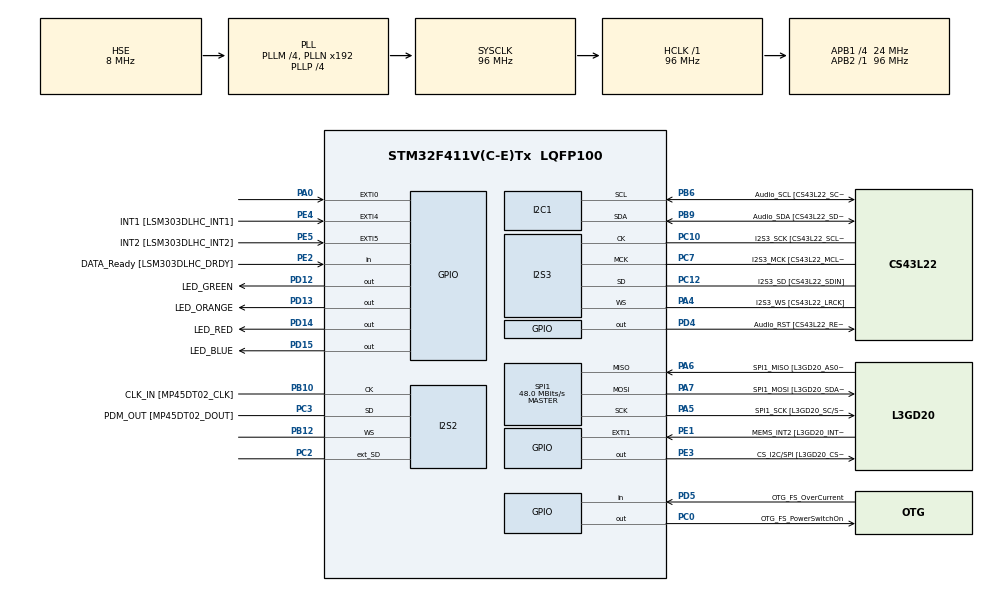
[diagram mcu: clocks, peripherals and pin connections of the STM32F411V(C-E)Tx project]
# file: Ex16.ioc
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FREERTOS.BinarySemaphores01=SemaSync1,Dynamic,NULL;SemaSync2,Dynamic,NULL
FREERTOS.INCLUDE_vTaskDelayUntil=1
FREERTOS.Mutexes01=CriticalResourceMutex,Dynamic,NULL
FREERTOS.Tasks01=FlashGreenLed,0,128,StartFlashGreenLedTask,Default,NULL,Dynamic,NULL,NULL;FlashRedLed,0,128,StartFlashRedLedTask,Default,NULL,Dynamic,NULL,NULL;FlashBlueLed,0,128,StartFlashBlueLedTask,Default,NULL,Dynamic,NULL,NULL
FREERTOS.configUSE_NEWLIB_REENTRANT=1
I2S2.AudioFreq=I2S_AUDIOFREQ_96K
I2S2.ErrorAudioFreq=0.15 %
I2S2.FullDuplexMode=I2S_FULLDUPLEXMODE_ENABLE
I2S2.Instance=SPI$Index
I2S2.RealAudioFreq=96.153 KHz
I2S2.VirtualMode=I2S_MODE_MASTER
I2S3.AudioFreq=I2S_AUDIOFREQ_96K
I2S3.ErrorAudioFreq=-6.99 %
I2S3.FullDuplexMode=I2S_FULLDUPLEXMODE_DISABLE
I2S3.Instance=SPI$Index
I2S3.RealAudioFreq=89.285 KHz
I2S3.VirtualMode=I2S_MODE_MASTER
Mcu.Family=STM32F4
Mcu.Name=STM32F411V(C-E)Tx
Mcu.Package=LQFP100
NVIC.PriorityGroup=NVIC_PRIORITYGROUP_4
NVIC.TIM1_UP_TIM10_IRQn=true\:15\:0\:false\:false\:true\:false\:false\:true\:true
NVIC.TimeBase=TIM1_UP_TIM10_IRQn
NVIC.TimeBaseIP=TIM1
PA0-WKUP.GPIO_ModeDefaultEXTI=GPIO_MODE_EVT_RISING
PA0-WKUP.Signal=GPXTI0
PA10.GPIO_Label=OTG_FS_ID
PA10.Signal=USB_OTG_FS_ID
PA11.GPIO_Label=OTG_FS_DM
PA11.Signal=USB_OTG_FS_DM
PA12.GPIO_Label=OTG_FS_DP
PA12.Signal=USB_OTG_FS_DP
PA13.GPIO_Label=SWDIO
PA13.Mode=Serial_Wire
PA13.Signal=SYS_JTMS-SWDIO
PA14.GPIO_Label=SWCLK
PA14.Mode=Serial_Wire
PA14.Signal=SYS_JTCK-SWCLK
PA4.GPIO_Label=I2S3_WS [CS43L22_LRCK]
PA4.GPIO_Mode=GPIO_MODE_AF_PP
PA4.GPIO_PuPd=GPIO_NOPULL
PA4.GPIO_Speed=GPIO_SPEED_FREQ_LOW
PA4.Mode=Half_Duplex_Master
PA4.Signal=I2S3_WS
PA5.GPIO_Label=SPI1_SCK [L3GD20_SC/SPC]
PA5.Mode=Full_Duplex_Master
PA5.Signal=SPI1_SCK
PA6.GPIO_Label=SPI1_MISO [L3GD20_AS0/SDO]
PA6.Mode=Full_Duplex_Master
PA6.Signal=SPI1_MISO
PA7.GPIO_Label=SPI1_MOSI [L3GD20_SDA/SDI/SDO]
PA7.Mode=Full_Duplex_Master
PA7.Signal=SPI1_MOSI
PA9.GPIO_Label=VBUS_FS
PA9.Signal=USB_OTG_FS_VBUS
PB10.GPIO_Label=CLK_IN [MP45DT02_CLK]
PB10.Mode=Full_Duplex_Master
PB10.Signal=I2S2_CK
PB12.Mode=Full_Duplex_Master
PB12.Signal=I2S2_WS
PB3.GPIO_Label=SWO
PB3.Signal=SYS_JTDO-SWO
PB6.GPIO_Label=Audio_SCL [CS43L22_SCL]
PB6.GPIO_Mode=GPIO_MODE_AF_OD
PB6.GPIO_Pu=GPIO_PULLUP
PB6.GPIO_PuPd=GPIO_NOPULL
PB6.GPIO_Speed=GPIO_SPEED_FREQ_LOW
PB6.Mode=I2C
PB6.Signal=I2C1_SCL
PB9.GPIO_Label=Audio_SDA [CS43L22_SDA]
PB9.GPIO_Mode=GPIO_MODE_AF_OD
PB9.GPIO_Pu=GPIO_PULLUP
PB9.GPIO_PuPd=GPIO_NOPULL
PB9.GPIO_Speed=GPIO_SPEED_FREQ_LOW
PB9.Mode=I2C
PB9.Signal=I2C1_SDA
PC0.GPIO_Label=OTG_FS_PowerSwitchOn
PC0.PinState=GPIO_PIN_SET
PC0.Signal=GPIO_Output
PC10.GPIO_Label=I2S3_SCK [CS43L22_SCLK]
PC10.GPIO_Mode=GPIO_MODE_AF_PP
PC10.GPIO_PuPd=GPIO_NOPULL
PC10.GPIO_Speed=GPIO_SPEED_FREQ_LOW
PC10.Mode=Half_Duplex_Master
PC10.Signal=I2S3_CK
PC12.GPIO_Label=I2S3_SD [CS43L22_SDIN]
PC12.GPIO_Mode=GPIO_MODE_AF_PP
PC12.GPIO_PuPd=GPIO_NOPULL
PC12.GPIO_Speed=GPIO_SPEED_FREQ_LOW
PC12.Mode=Half_Duplex_Master
PC12.Signal=I2S3_SD
PC14-OSC32_IN.GPIO_Label=PC14-OSC32_IN
PC14-OSC32_IN.Mode=LSE-External-Oscillator
PC14-OSC32_IN.Signal=RCC_OSC32_IN
PC15-OSC32_OUT.GPIO_Label=PC15-OSC32_OUT
PC15-OSC32_OUT.Mode=LSE-External-Oscillator
PC15-OSC32_OUT.Signal=RCC_OSC32_OUT
PC2.Mode=Full_Duplex_Master
PC2.Signal=I2S2_ext_SD
PC3.GPIO_Label=PDM_OUT [MP45DT02_DOUT]
PC3.Mode=Full_Duplex_Master
PC3.Signal=I2S2_SD
PC7.GPIO_Label=I2S3_MCK [CS43L22_MCLK]
PC7.GPIO_Mode=GPIO_MODE_AF_PP
PC7.GPIO_PuPd=GPIO_NOPULL
PC7.GPIO_Speed=GPIO_SPEED_FREQ_LOW
PC7.Mode=Master_Clock_Activated
PC7.Signal=I2S3_MCK
PD12.GPIO_Label=LED_GREEN
PD12.GPIO_PuPd=GPIO_NOPULL
PD12.GPIO_Speed=GPIO_SPEED_FREQ_LOW
PD12.Signal=GPIO_Output
PD13.GPIO_Label=LED_ORANGE
PD13.GPIO_PuPd=GPIO_NOPULL
PD13.GPIO_Speed=GPIO_SPEED_FREQ_LOW
PD13.Signal=GPIO_Output
PD14.GPIO_Label=LED_RED
PD14.GPIO_PuPd=GPIO_NOPULL
PD14.GPIO_Speed=GPIO_SPEED_FREQ_LOW
PD14.Signal=GPIO_Output
PD15.GPIO_Label=LED_BLUE
PD15.GPIO_PuPd=GPIO_NOPULL
PD15.GPIO_Speed=GPIO_SPEED_FREQ_LOW
PD15.Signal=GPIO_Output
PD4.GPIO_Label=Audio_RST [CS43L22_RESET]
PD4.Signal=GPIO_Output
PD5.GPIO_Label=OTG_FS_OverCurrent
PD5.Signal=GPIO_Input
PE1.GPIO_Label=MEMS_INT2 [L3GD20_INT2]
PE1.GPIO_ModeDefaultEXTI=GPIO_MODE_EVT_RISING
PE1.Signal=GPXTI1
PE2.GPIO_Label=DATA_Ready [LSM303DLHC_DRDY]
PE2.Signal=GPIO_Input
PE3.GPIO_Label=CS_I2C/SPI [L3GD20_CS_I2C/SPI]
PE3.Signal=GPIO_Output
PE4.GPIO_Label=INT1 [LSM303DLHC_INT1]
PE4.GPIO_ModeDefaultEXTI=GPIO_MODE_EVT_RISING
PE4.Signal=GPXTI4
PE5.GPIO_Label=INT2 [LSM303DLHC_INT2]
PE5.GPIO_ModeDefaultEXTI=GPIO_MODE_EVT_RISING
PE5.Signal=GPXTI5
PH0\ -\ OSC_IN.GPIO_Label=PH0-OSC_IN
PH0\ -\ OSC_IN.Mode=HSE-External-Oscillator
PH0\ -\ OSC_IN.Signal=RCC_OSC_IN
PH1\ -\ OSC_OUT.GPIO_Label=PH1-OSC_OUT
PH1\ -\ OSC_OUT.Mode=HSE-External-Oscillator
PH1\ -\ OSC_OUT.Signal=RCC_OSC_OUT
ProjectManager.HeapSize=0x200
ProjectManager.StackSize=0x400
ProjectManager.TargetToolchain=STM32CubeIDE
RCC.48MHZClocksFreq_Value=48000000
RCC.AHBFreq_Value=96000000
RCC.APB1CLKDivider=RCC_HCLK_DIV4
RCC.APB1Freq_Value=24000000
RCC.APB1TimFreq_Value=48000000
RCC.APB2Freq_Value=96000000
RCC.APB2TimFreq_Value=96000000
RCC.CortexFreq_Value=96000000
RCC.HCLKFreq_Value=96000000
RCC.HSE_VALUE=8000000
RCC.HSI_VALUE=16000000
RCC.PLLI2SM=5
RCC.PLLI2SN=200
RCC.PLLM=4
RCC.PLLP=RCC_PLLP_DIV4
RCC.PLLQ=8
RCC.PLLSourceVirtual=RCC_PLLSOURCE_HSE
RCC.SYSCLKFreq_VALUE=96000000
RCC.SYSCLKSource=RCC_SYSCLKSOURCE_PLLCLK
RCC.VCOOutputFreq_Value=384000000
SPI1.BaudRatePrescaler=SPI_BAUDRATEPRESCALER_2
SPI1.CalculateBaudRate=48.0 MBits/s
SPI1.Direction=SPI_DIRECTION_2LINES
SPI1.Mode=SPI_MODE_MASTER
SPI1.VirtualType=VM_MASTER
VP_FREERTOS_VS_CMSIS_V1.Mode=CMSIS_V1
VP_SYS_VS_tim1.Mode=TIM1
board=STM32F411E-DISCO

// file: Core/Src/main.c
/* USER CODE BEGIN Header */
/**
  ******************************************************************************
  * @file           : main.c
  * @brief          : Main program body
  ******************************************************************************
  * @attention
  *
  * Copyright (c) 2024 STMicroelectronics.
  * All rights reserved.
  *
  * This software is licensed under terms that can be found in the LICENSE file
  * in the root directory of this software component.
  * If no LICENSE file comes with this software, it is provided AS-IS.
  *
  ******************************************************************************
  */
/* USER CODE END Header */
#include "main.h"
#include "cmsis_os.h"

/* USER CODE BEGIN PD */
#define WaitForever portMAX_DELAY
#define NoWait 0
#define WaitSignal osSemaphoreWait
#define SendSignal osSemaphoreRelease
#define BlockSignal osSemaphoreWait
/* USER CODE END PD */

I2C_HandleTypeDef hi2c1;

I2S_HandleTypeDef hi2s2;
I2S_HandleTypeDef hi2s3;

SPI_HandleTypeDef hspi1;

osThreadId FlashGreenLedHandle;
osThreadId FlashRedLedHandle;
osThreadId FlashBlueLedHandle;
osMutexId CriticalResourceMutexHandle;
osSemaphoreId SemaSync1Handle;
osSemaphoreId SemaSync2Handle;

void SystemClock_Config(void);
void PeriphCommonClock_Config(void);
static void MX_GPIO_Init(void);
static void MX_I2C1_Init(void);
static void MX_I2S2_Init(void);
static void MX_I2S3_Init(void);
static void MX_SPI1_Init(void);
void StartFlashGreenLedTask(void const * argument);
void StartFlashRedLedTask(void const * argument);
void StartFlashBlueLedTask(void const * argument);

int main(void)
{

  /* MCU Configuration--------------------------------------------------------*/

  /* Reset of all peripherals, Initializes the Flash interface and the Systick. */
  HAL_Init();

  /* Configure the system clock */
  SystemClock_Config();

/* Configure the peripherals common clocks */
  PeriphCommonClock_Config();

  /* Initialize all configured peripherals */
  MX_GPIO_Init();
  MX_I2C1_Init();
  MX_I2S2_Init();
  MX_I2S3_Init();
  MX_SPI1_Init();

  /* Create the mutex(es) */
  /* definition and creation of CriticalResourceMutex */
  osMutexDef(CriticalResourceMutex);
  CriticalResourceMutexHandle = osMutexCreate(osMutex(CriticalResourceMutex));

  /* Create the semaphores(s) */
  /* definition and creation of SemaSync1 */
  osSemaphoreDef(SemaSync1);
  SemaSync1Handle = osSemaphoreCreate(osSemaphore(SemaSync1), 1);

  /* definition and creation of SemaSync2 */
  osSemaphoreDef(SemaSync2);
  SemaSync2Handle = osSemaphoreCreate(osSemaphore(SemaSync2), 1);

  /* Create the thread(s) */
  /* definition and creation of FlashGreenLed */
  osThreadDef(FlashGreenLed, StartFlashGreenLedTask, osPriorityNormal, 0, 128);
  FlashGreenLedHandle = osThreadCreate(osThread(FlashGreenLed), NULL);

  /* definition and creation of FlashRedLed */
  osThreadDef(FlashRedLed, StartFlashRedLedTask, osPriorityNormal, 0, 128);
  FlashRedLedHandle = osThreadCreate(osThread(FlashRedLed), NULL);

  /* definition and creation of FlashBlueLed */
  osThreadDef(FlashBlueLed, StartFlashBlueLedTask, osPriorityNormal, 0, 128);
  FlashBlueLedHandle = osThreadCreate(osThread(FlashBlueLed), NULL);

  /* Start scheduler */
  osKernelStart();

  /* We should never get here as control is now taken by the scheduler */
  /* Infinite loop */
  while (1)
  {

  }
}

void SystemClock_Config(void)
{
  RCC_OscInitTypeDef RCC_OscInitStruct = {0};
  RCC_ClkInitTypeDef RCC_ClkInitStruct = {0};

  /** Configure the main internal regulator output voltage
  */
  __HAL_RCC_PWR_CLK_ENABLE();
  __HAL_PWR_VOLTAGESCALING_CONFIG(PWR_REGULATOR_VOLTAGE_SCALE1);

  /** Initializes the RCC Oscillators according to the specified parameters
  * in the RCC_OscInitTypeDef structure.
  */
  RCC_OscInitStruct.OscillatorType = RCC_OSCILLATORTYPE_HSE;
  RCC_OscInitStruct.HSEState = RCC_HSE_ON;
  RCC_OscInitStruct.PLL.PLLState = RCC_PLL_ON;
  RCC_OscInitStruct.PLL.PLLSource = RCC_PLLSOURCE_HSE;
  RCC_OscInitStruct.PLL.PLLM = 4;
  RCC_OscInitStruct.PLL.PLLN = 192;
  RCC_OscInitStruct.PLL.PLLP = RCC_PLLP_DIV4;
  RCC_OscInitStruct.PLL.PLLQ = 8;
  if (HAL_RCC_OscConfig(&RCC_OscInitStruct) != HAL_OK)
  {
    Error_Handler();
  }

  /** Initializes the CPU, AHB and APB buses clocks
  */
  RCC_ClkInitStruct.ClockType = RCC_CLOCKTYPE_HCLK|RCC_CLOCKTYPE_SYSCLK
                              |RCC_CLOCKTYPE_PCLK1|RCC_CLOCKTYPE_PCLK2;
  RCC_ClkInitStruct.SYSCLKSource = RCC_SYSCLKSOURCE_PLLCLK;
  RCC_ClkInitStruct.AHBCLKDivider = RCC_SYSCLK_DIV1;
  RCC_ClkInitStruct.APB1CLKDivider = RCC_HCLK_DIV4;
  RCC_ClkInitStruct.APB2CLKDivider = RCC_HCLK_DIV1;

  if (HAL_RCC_ClockConfig(&RCC_ClkInitStruct, FLASH_LATENCY_3) != HAL_OK)
  {
    Error_Handler();
  }
}

void PeriphCommonClock_Config(void)
{
  RCC_PeriphCLKInitTypeDef PeriphClkInitStruct = {0};

  /** Initializes the peripherals clock
  */
  PeriphClkInitStruct.PeriphClockSelection = RCC_PERIPHCLK_I2S;
  PeriphClkInitStruct.PLLI2S.PLLI2SN = 200;
  PeriphClkInitStruct.PLLI2S.PLLI2SM = 5;
  PeriphClkInitStruct.PLLI2S.PLLI2SR = 2;
  if (HAL_RCCEx_PeriphCLKConfig(&PeriphClkInitStruct) != HAL_OK)
  {
    Error_Handler();
  }
}

static void MX_I2C1_Init(void)
{

  hi2c1.Instance = I2C1;
  hi2c1.Init.ClockSpeed = 100000;
  hi2c1.Init.DutyCycle = I2C_DUTYCYCLE_2;
  hi2c1.Init.OwnAddress1 = 0;
  hi2c1.Init.AddressingMode = I2C_ADDRESSINGMODE_7BIT;
  hi2c1.Init.DualAddressMode = I2C_DUALADDRESS_DISABLE;
  hi2c1.Init.OwnAddress2 = 0;
  hi2c1.Init.GeneralCallMode = I2C_GENERALCALL_DISABLE;
  hi2c1.Init.NoStretchMode = I2C_NOSTRETCH_DISABLE;
  if (HAL_I2C_Init(&hi2c1) != HAL_OK)
  {
    Error_Handler();
  }

}

static void MX_I2S2_Init(void)
{

  hi2s2.Instance = SPI2;
  hi2s2.Init.Mode = I2S_MODE_MASTER_TX;
  hi2s2.Init.Standard = I2S_STANDARD_PHILIPS;
  hi2s2.Init.DataFormat = I2S_DATAFORMAT_16B;
  hi2s2.Init.MCLKOutput = I2S_MCLKOUTPUT_DISABLE;
  hi2s2.Init.AudioFreq = I2S_AUDIOFREQ_96K;
  hi2s2.Init.CPOL = I2S_CPOL_LOW;
  hi2s2.Init.ClockSource = I2S_CLOCK_PLL;
  hi2s2.Init.FullDuplexMode = I2S_FULLDUPLEXMODE_ENABLE;
  if (HAL_I2S_Init(&hi2s2) != HAL_OK)
  {
    Error_Handler();
  }

}

static void MX_I2S3_Init(void)
{

  hi2s3.Instance = SPI3;
  hi2s3.Init.Mode = I2S_MODE_MASTER_TX;
  hi2s3.Init.Standard = I2S_STANDARD_PHILIPS;
  hi2s3.Init.DataFormat = I2S_DATAFORMAT_16B;
  hi2s3.Init.MCLKOutput = I2S_MCLKOUTPUT_ENABLE;
  hi2s3.Init.AudioFreq = I2S_AUDIOFREQ_96K;
  hi2s3.Init.CPOL = I2S_CPOL_LOW;
  hi2s3.Init.ClockSource = I2S_CLOCK_PLL;
  hi2s3.Init.FullDuplexMode = I2S_FULLDUPLEXMODE_DISABLE;
  if (HAL_I2S_Init(&hi2s3) != HAL_OK)
  {
    Error_Handler();
  }

}

static void MX_SPI1_Init(void)
{

  /* SPI1 parameter configuration*/
  hspi1.Instance = SPI1;
  hspi1.Init.Mode = SPI_MODE_MASTER;
  hspi1.Init.Direction = SPI_DIRECTION_2LINES;
  hspi1.Init.DataSize = SPI_DATASIZE_8BIT;
  hspi1.Init.CLKPolarity = SPI_POLARITY_LOW;
  hspi1.Init.CLKPhase = SPI_PHASE_1EDGE;
  hspi1.Init.NSS = SPI_NSS_SOFT;
  hspi1.Init.BaudRatePrescaler = SPI_BAUDRATEPRESCALER_2;
  hspi1.Init.FirstBit = SPI_FIRSTBIT_MSB;
  hspi1.Init.TIMode = SPI_TIMODE_DISABLE;
  hspi1.Init.CRCCalculation = SPI_CRCCALCULATION_DISABLE;
  hspi1.Init.CRCPolynomial = 10;
  if (HAL_SPI_Init(&hspi1) != HAL_OK)
  {
    Error_Handler();
  }

}

static void MX_GPIO_Init(void)
{
  GPIO_InitTypeDef GPIO_InitStruct = {0};

  /* GPIO Ports Clock Enable */
  __HAL_RCC_GPIOE_CLK_ENABLE();
  __HAL_RCC_GPIOC_CLK_ENABLE();
  __HAL_RCC_GPIOH_CLK_ENABLE();
  __HAL_RCC_GPIOA_CLK_ENABLE();
  __HAL_RCC_GPIOB_CLK_ENABLE();
  __HAL_RCC_GPIOD_CLK_ENABLE();

  /*Configure GPIO pin Output Level */
  HAL_GPIO_WritePin(CS_I2C_SPI_GPIO_Port, CS_I2C_SPI_Pin, GPIO_PIN_RESET);

  /*Configure GPIO pin Output Level */
  HAL_GPIO_WritePin(OTG_FS_PowerSwitchOn_GPIO_Port, OTG_FS_PowerSwitchOn_Pin, GPIO_PIN_SET);

  /*Configure GPIO pin Output Level */
  HAL_GPIO_WritePin(GPIOD, LED_GREEN_Pin|LED_ORANGE_Pin|LED_RED_Pin|LED_BLUE_Pin
                          |Audio_RST_Pin, GPIO_PIN_RESET);

  /*Configure GPIO pin : DATA_Ready_Pin */
  GPIO_InitStruct.Pin = DATA_Ready_Pin;
  GPIO_InitStruct.Mode = GPIO_MODE_INPUT;
  GPIO_InitStruct.Pull = GPIO_NOPULL;
  HAL_GPIO_Init(DATA_Ready_GPIO_Port, &GPIO_InitStruct);

  /*Configure GPIO pin : CS_I2C_SPI_Pin */
  GPIO_InitStruct.Pin = CS_I2C_SPI_Pin;
  GPIO_InitStruct.Mode = GPIO_MODE_OUTPUT_PP;
  GPIO_InitStruct.Pull = GPIO_NOPULL;
  GPIO_InitStruct.Speed = GPIO_SPEED_FREQ_LOW;
  HAL_GPIO_Init(CS_I2C_SPI_GPIO_Port, &GPIO_InitStruct);

  /*Configure GPIO pins : INT1_Pin INT2_Pin MEMS_INT2_Pin */
  GPIO_InitStruct.Pin = INT1_Pin|INT2_Pin|MEMS_INT2_Pin;
  GPIO_InitStruct.Mode = GPIO_MODE_EVT_RISING;
  GPIO_InitStruct.Pull = GPIO_NOPULL;
  HAL_GPIO_Init(GPIOE, &GPIO_InitStruct);

  /*Configure GPIO pin : OTG_FS_PowerSwitchOn_Pin */
  GPIO_InitStruct.Pin = OTG_FS_PowerSwitchOn_Pin;
  GPIO_InitStruct.Mode = GPIO_MODE_OUTPUT_PP;
  GPIO_InitStruct.Pull = GPIO_NOPULL;
  GPIO_InitStruct.Speed = GPIO_SPEED_FREQ_LOW;
  HAL_GPIO_Init(OTG_FS_PowerSwitchOn_GPIO_Port, &GPIO_InitStruct);

  /*Configure GPIO pin : PA0 */
  GPIO_InitStruct.Pin = GPIO_PIN_0;
  GPIO_InitStruct.Mode = GPIO_MODE_EVT_RISING;
  GPIO_InitStruct.Pull = GPIO_NOPULL;
  HAL_GPIO_Init(GPIOA, &GPIO_InitStruct);

  /*Configure GPIO pins : LED_GREEN_Pin LED_ORANGE_Pin LED_RED_Pin LED_BLUE_Pin
                           Audio_RST_Pin */
  GPIO_InitStruct.Pin = LED_GREEN_Pin|LED_ORANGE_Pin|LED_RED_Pin|LED_BLUE_Pin
                          |Audio_RST_Pin;
  GPIO_InitStruct.Mode = GPIO_MODE_OUTPUT_PP;
  GPIO_InitStruct.Pull = GPIO_NOPULL;
  GPIO_InitStruct.Speed = GPIO_SPEED_FREQ_LOW;
  HAL_GPIO_Init(GPIOD, &GPIO_InitStruct);

  /*Configure GPIO pin : VBUS_FS_Pin */
  GPIO_InitStruct.Pin = VBUS_FS_Pin;
  GPIO_InitStruct.Mode = GPIO_MODE_INPUT;
  GPIO_InitStruct.Pull = GPIO_NOPULL;
  HAL_GPIO_Init(VBUS_FS_GPIO_Port, &GPIO_InitStruct);

  /*Configure GPIO pins : OTG_FS_ID_Pin OTG_FS_DM_Pin OTG_FS_DP_Pin */
  GPIO_InitStruct.Pin = OTG_FS_ID_Pin|OTG_FS_DM_Pin|OTG_FS_DP_Pin;
  GPIO_InitStruct.Mode = GPIO_MODE_AF_PP;
  GPIO_InitStruct.Pull = GPIO_NOPULL;
  GPIO_InitStruct.Speed = GPIO_SPEED_FREQ_VERY_HIGH;
  GPIO_InitStruct.Alternate = GPIO_AF10_OTG_FS;
  HAL_GPIO_Init(GPIOA, &GPIO_InitStruct);

  /*Configure GPIO pin : OTG_FS_OverCurrent_Pin */
  GPIO_InitStruct.Pin = OTG_FS_OverCurrent_Pin;
  GPIO_InitStruct.Mode = GPIO_MODE_INPUT;
  GPIO_InitStruct.Pull = GPIO_NOPULL;
  HAL_GPIO_Init(OTG_FS_OverCurrent_GPIO_Port, &GPIO_InitStruct);

}

void StartFlashGreenLedTask(void const * argument)
{
  /* USER CODE BEGIN 5 */
	BlockSignal(SemaSync1Handle, NoWait);
	BlockSignal(SemaSync2Handle, NoWait);
  /* Infinite loop */
  for(;;)
  {

	  //Flash 5 seconds at 10 HZ
	  for(int i=0;i<=50;i++){
		  HAL_GPIO_WritePin(GPIOD, LED_GREEN_Pin, GPIO_PIN_SET);
		  osDelay(50);// 1/10 = 0.1, 0.1 / 2 = 50 mSec
		  HAL_GPIO_WritePin(GPIOD, LED_GREEN_Pin, GPIO_PIN_RESET);
		  osDelay(50);
	  }//nested for

	  WaitSignal(SemaSync2Handle, WaitForever);

	  //Flash 10 seconds at 1 Hz
	  for(int i=0;i<=10;i++){
		  HAL_GPIO_WritePin(GPIOD, LED_GREEN_Pin, GPIO_PIN_SET);
		  osDelay(500);//1/1 = 1, 1 / 2 = 0.5 mSec
		  HAL_GPIO_WritePin(GPIOD, LED_GREEN_Pin, GPIO_PIN_RESET);
		  osDelay(500);
	  	  }//nested for

	  SendSignal(SemaSync1Handle);
  }
  /* USER CODE END 5 */
}

void StartFlashRedLedTask(void const * argument)
{
  /* USER CODE BEGIN StartFlashRedLedTask */
	BlockSignal(SemaSync1Handle, NoWait);
	BlockSignal(SemaSync2Handle, NoWait);
  /* Infinite loop */
  for(;;)
  {

	  //Flash 10 seconds at 1 Hz
	  for(int i=0;i<10;i++){
		  HAL_GPIO_WritePin(GPIOD, LED_RED_Pin, GPIO_PIN_SET);
		  osDelay(500);//1/1 = 1, 1 / 2 = 0.5 mSec
		  HAL_GPIO_WritePin(GPIOD, LED_RED_Pin, GPIO_PIN_RESET);
		  osDelay(500);
	  }

	  SendSignal(SemaSync2Handle);

	  //Flash 5 seconds at 10 Hz
	  for(int i=0;i<50;i++){
	  		  HAL_GPIO_WritePin(GPIOD, LED_RED_Pin, GPIO_PIN_SET);
	  		  osDelay(50);// 1/10 = 0.1, 0.1 / 2 = 50 mSec
	  		  HAL_GPIO_WritePin(GPIOD, LED_RED_Pin, GPIO_PIN_RESET);
	  		  osDelay(50);
	  	  }

	  WaitSignal(SemaSync1Handle, WaitForever);
  }
  /* USER CODE END StartFlashRedLedTask */
}

void StartFlashBlueLedTask(void const * argument)
{
  /* USER CODE BEGIN StartFlashBlueLedTask */
  /* Infinite loop */
  for(;;)
  {
	  osDelay(1000);
  }
  /* USER CODE END StartFlashBlueLedTask */
}

void HAL_TIM_PeriodElapsedCallback(TIM_HandleTypeDef *htim)
{
  if (htim->Instance == TIM1) {
    HAL_IncTick();
  }
}

void Error_Handler(void)
{
  __disable_irq();
  while (1)
  {
  }
}
